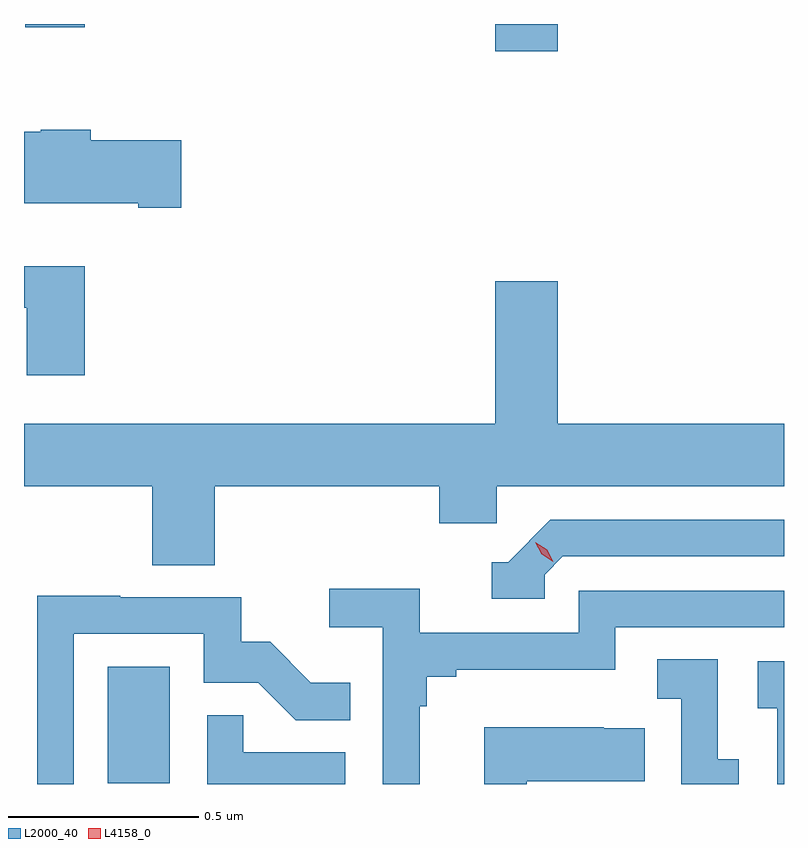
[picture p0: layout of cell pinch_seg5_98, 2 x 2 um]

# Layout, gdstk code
import gdstk
lib = gdstk.Library(unit=1e-6, precision=1e-09)
def R(c, l, rs):  # rectangles x0, y0, x1, y1
    for r in rs: c.add(gdstk.rectangle(r[:2], r[2:], *l))
def P(c, l, *ps):  # polygons
    for p in ps: c.add(gdstk.Polygon(p, *l))
L2000_40 = (2000, 40)
L4158_0 = (4158, 0)

pinch_seg5_98 = lib.new_cell('pinch_seg5_98')
R(pinch_seg5_98, L2000_40, [(1027.124,902.598,1027.288,902.905), (1028.144,904.524,1028.308,904.596), (1026.907,904.588,1027.064,904.596)])
P(pinch_seg5_98, L2000_40, [(1027.318,904.29),(1027.079,904.29),(1027.079,904.318),(1026.948,904.318),(1026.948,904.312),(1026.904,904.312),(1026.904,904.124),(1027.205,904.124),(1027.205,904.112),(1027.318,904.112)],
  [(1027.064,903.958),(1026.904,903.958),(1026.904,903.849),(1026.911,903.849),(1026.911,903.672),(1027.064,903.672)],
  [(1027.406,903.38),(1027.997,903.38),(1027.997,903.282),(1028.148,903.282),(1028.148,903.38),(1028.904,903.38),(1028.904,903.544),(1028.308,903.544),(1028.308,903.919),(1028.144,903.919),(1028.144,903.544),(1026.904,903.544),(1026.904,903.38),(1027.241,903.38),(1027.241,903.172),(1027.406,903.172)],
  [(1028.274,903.147),(1028.322,903.195),(1028.904,903.195),(1028.904,903.291),(1028.289,903.291),(1028.178,903.18),(1028.135,903.18),(1028.135,903.084),(1028.274,903.084)],
  [(1027.945,902.801),(1027.964,902.801),(1027.964,902.878),(1028.041,902.878),(1028.041,902.897),(1028.46,902.897),(1028.46,903.009),(1028.904,903.009),(1028.904,903.105),(1028.364,903.105),(1028.364,902.994),(1027.946,902.994),(1027.946,903.11),(1027.707,903.11),(1027.707,903.008),(1027.848,903.008),(1027.848,902.596),(1027.945,902.596)],
  [(1027.035,902.991),(1027.377,902.991),(1027.377,902.862),(1027.521,902.862),(1027.619,902.764),(1027.763,902.764),(1027.763,902.863),(1027.659,902.863),(1027.552,902.97),(1027.476,902.97),(1027.476,903.087),(1027.157,903.087),(1027.157,903.092),(1026.939,903.092),(1026.939,902.596),(1027.035,902.596)],
  [(1028.785,902.661),(1028.73,902.661),(1028.73,902.924),(1028.571,902.924),(1028.571,902.821),(1028.634,902.821),(1028.634,902.596),(1028.785,902.596)],
  [(1028.904,902.919),(1028.835,902.919),(1028.835,902.795),(1028.886,902.795),(1028.886,902.596),(1028.904,902.596)],
  [(1027.75,902.679),(1027.481,902.679),(1027.481,902.777),(1027.386,902.777),(1027.386,902.596),(1027.75,902.596)],
  [(1028.227,902.603),(1028.537,902.603),(1028.537,902.743),(1028.429,902.743),(1028.429,902.746),(1028.115,902.746),(1028.115,902.596),(1028.227,902.596)])
P(pinch_seg5_98, L4158_0, [(1028.297,903.181),(1028.266,903.2),(1028.25,903.232),(1028.25,903.232),(1028.25,903.232),(1028.281,903.213),(1028.297,903.181),(1028.297,903.181)])

lib.write_gds('pinch_seg5_98.gds')
